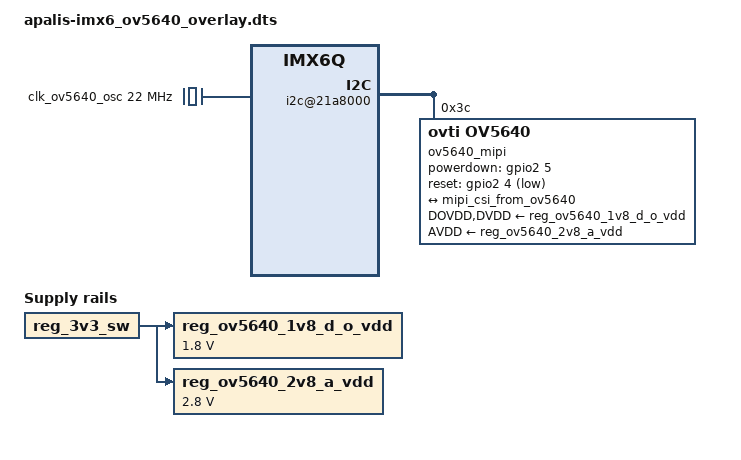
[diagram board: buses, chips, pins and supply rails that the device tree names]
// CSI Camera Module 5MP OV5640 orderable at Toradex.

/dts-v1/;
/plugin/;

#include <dt-bindings/gpio/gpio.h>
#include <imx6q-pinfunc.h>

/ {
	compatible = "toradex,apalis_imx6q";

	fragment@0 {
		target-path="/";
		__overlay__ {
			clk_ov5640_osc: clk_ov5640_osc_int {
				compatible = "fixed-clock";
				#clock-cells = <0>;
				clock-frequency = <22000000>;
			};

			reg_ov5640_1v8_d_o_vdd: regulator-ov5640-1v8-d-o-vdd {
				compatible = "regulator-fixed";
				regulator-name = "DOVDD/DVDD_1.8V";
				regulator-min-microvolt = <1800000>;
				regulator-max-microvolt = <1800000>;
				regulator-always-on;
				vin-supply = <&reg_3v3_sw>;
			};

			reg_ov5640_2v8_a_vdd: regulator-ov5640-2v8-a-vdd {
				compatible = "regulator-fixed";
				regulator-name = "AVDD/AFVDD_2.8V";
				regulator-min-microvolt = <2800000>;
				regulator-max-microvolt = <2800000>;
				regulator-always-on;
				vin-supply = <&reg_3v3_sw>;
			};
		};
	};

	fragment@1 {
		target-path = "/soc/aips-bus@2100000/i2c@21a8000";
		__overlay__ {
			status = "okay";

			ov5640_mipi@3c {
				compatible = "ovti,ov5640";
				reg = <0x3c>;
				pinctrl-names = "default";
				pinctrl-0 = <&pinctrl_cam_mclk_stash &pinctrl_apalis_gpio1 &pinctrl_csi_reset>;
				clocks = <&clk_ov5640_osc>;
				clock-names = "xclk";
				DOVDD-supply = <&reg_ov5640_1v8_d_o_vdd>;
				AVDD-supply = <&reg_ov5640_2v8_a_vdd>;
				DVDD-supply = <&reg_ov5640_1v8_d_o_vdd>;
				powerdown-gpios = <&gpio2 5 GPIO_ACTIVE_HIGH>;
				reset-gpios = <&gpio2 4 GPIO_ACTIVE_LOW>;
				status = "okay";

				port {
					/* MIPI CSI bus endpoint */
					ov5640_to_mipi_csi2: endpoint {
						remote-endpoint = <&mipi_csi_from_ov5640>;
						clock-lanes = <0>;
						data-lanes = <1 2>;
					};
				};
			};
		};
	};

	fragment@2 {
		target-path = "/soc/aips-bus@2100000/mipi@21dc000/";
		__overlay__ {
			status = "okay";

			port@0 {
				reg = <0>;

				mipi_csi_from_ov5640: endpoint {
					remote-endpoint = <&ov5640_to_mipi_csi2>;
					clock-lanes = <0>;
					data-lanes = <1 2>;
				};
			};
		};
	};

	fragment@3 {
		target-path = "/soc/aips-bus@2000000/iomuxc@20e0000/";
		__overlay__ {
			pinctrl-0 = <&pinctrl_apalis_gpio2 &pinctrl_apalis_gpio3
				     &pinctrl_apalis_gpio4 &pinctrl_apalis_gpio5
				     &pinctrl_apalis_gpio6 &pinctrl_apalis_gpio7
				     &pinctrl_apalis_gpio8
				    >;

			pinctrl_cam_mclk_stash: cammclkstashgrp {
				fsl,pins = <
					/* CAM sys_mclk */
					MX6QDL_PAD_NANDF_CS2__GPIO6_IO15 0x0000
				>;
			};

			pinctrl_csi_reset: csiresetgrp {
				fsl,pins = <
					MX6QDL_PAD_NANDF_D4__GPIO2_IO04 0x130b0 /* reset */
				>;
			};
		};
	};
};

